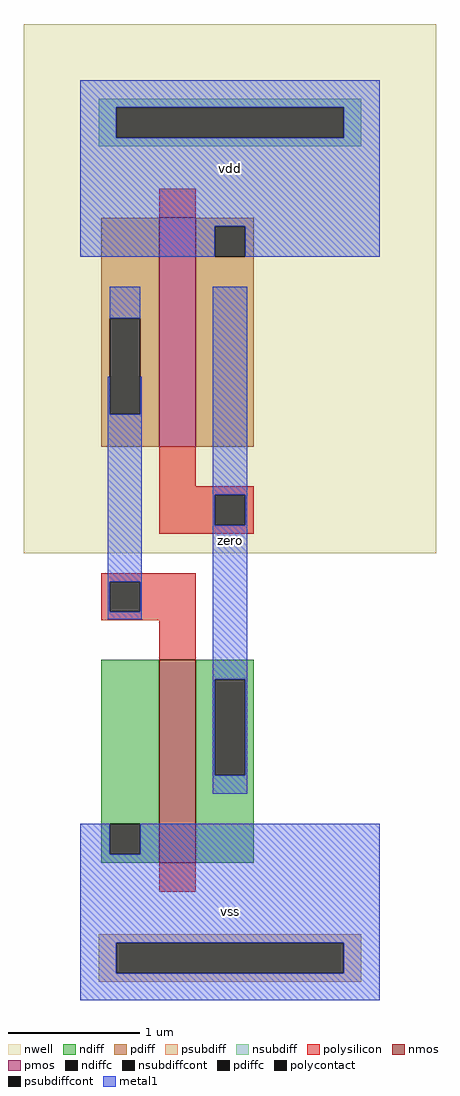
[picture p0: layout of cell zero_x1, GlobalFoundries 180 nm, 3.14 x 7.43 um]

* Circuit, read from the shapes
.subckt zero_x1 vss vdd zero
XM1 zero n1 vss vss nfet_03v3 w=1.545u l=0.28u
XM2 vdd zero n1 vdd pfet_03v3 w=1.745u l=0.28u
.ends

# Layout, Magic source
magic
tech gf180mcuD
magscale 1 10
<< nwell >>
rect -86 680 542 1486
<< nmos >>
rect 120 209 176 518
<< pmos >>
rect 120 842 176 1191
<< ndiff >>
rect 32 268 120 518
rect 32 222 45 268
rect 91 222 120 268
rect 32 209 120 222
rect 176 488 264 518
rect 176 342 205 488
rect 251 342 264 488
rect 176 209 264 342
<< pdiff >>
rect 32 1038 120 1191
rect 32 892 45 1038
rect 91 892 120 1038
rect 32 842 120 892
rect 176 1178 264 1191
rect 176 1132 205 1178
rect 251 1132 264 1178
rect 176 842 264 1132
<< ndiffc >>
rect 45 222 91 268
rect 205 342 251 488
<< pdiffc >>
rect 45 892 91 1038
rect 205 1132 251 1178
<< psubdiff >>
rect 28 87 428 100
rect 28 41 55 87
rect 401 41 428 87
rect 28 28 428 41
<< nsubdiff >>
rect 28 1359 428 1372
rect 28 1313 55 1359
rect 401 1313 428 1359
rect 28 1300 428 1313
<< psubdiffcont >>
rect 55 41 401 87
<< nsubdiffcont >>
rect 55 1313 401 1359
<< polysilicon >>
rect 120 1191 176 1235
rect 120 782 176 842
rect 120 769 264 782
rect 120 723 205 769
rect 251 723 264 769
rect 120 710 264 723
rect 32 637 176 650
rect 32 591 45 637
rect 91 591 176 637
rect 32 578 176 591
rect 120 518 176 578
rect 120 165 176 209
<< polycontact >>
rect 205 723 251 769
rect 45 591 91 637
<< metal1 >>
rect 0 1359 456 1400
rect 0 1313 55 1359
rect 401 1313 456 1359
rect 0 1178 456 1313
rect 0 1132 205 1178
rect 251 1132 456 1178
rect 45 1038 91 1086
rect 42 892 45 949
rect 91 892 94 949
rect 42 637 94 892
rect 42 591 45 637
rect 91 591 94 637
rect 42 580 94 591
rect 202 769 254 1086
rect 202 723 205 769
rect 251 723 254 769
rect 202 488 254 723
rect 202 342 205 488
rect 251 342 254 488
rect 202 314 254 342
rect 0 222 45 268
rect 91 222 456 268
rect 0 87 456 222
rect 0 41 55 87
rect 401 41 456 87
rect 0 0 456 41
<< labels >>
rlabel metal1 s 0 0 456 268 4 vss
port 3 nsew
rlabel metal1 s 0 1132 456 1400 4 vdd
port 5 nsew
rlabel metal1 s 202 314 254 1086 4 zero
port 7 nsew
<< end >>
